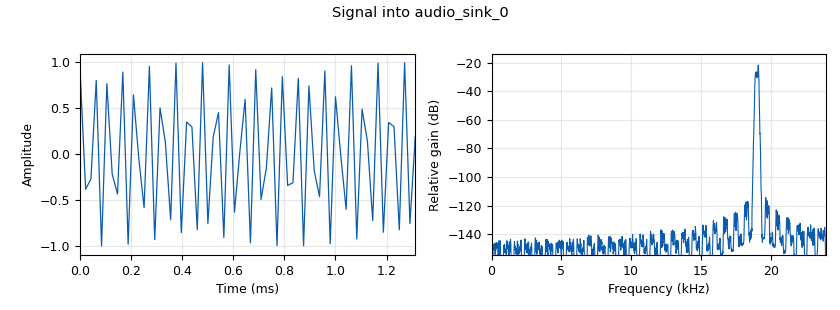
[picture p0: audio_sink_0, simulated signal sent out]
options:
  parameters:
    generate_options: qt_gui
    id: tx
    output_language: python
    title: Not titled yet
  states: {}

blocks:
- name: freq
  id: variable
  parameters:
    value: '19000'
  states: {}
- name: samp_rate
  id: variable
  parameters:
    value: '48000'
  states: {}
- name: audio_sink_0
  id: audio_sink
  parameters:
    samp_rate: samp_rate
  states: {}
- name: blocks_complex_to_real_0
  id: blocks_complex_to_real
  parameters: {}
  states: {}
- name: blocks_packed_to_unpacked_xx_1
  id: blocks_packed_to_unpacked_xx
  parameters:
    bits_per_chunk: '1'
    endianness: gr.GR_MSB_FIRST
    type: byte
  states: {}
- name: blocks_rotator_cc_0
  id: blocks_rotator_cc
  parameters:
    phase_inc: 2 * math.pi * freq / samp_rate
  states: {}
- name: blocks_vector_source_x_0
  id: blocks_vector_source_x
  parameters:
    repeat: 'True'
    type: byte
    vector: '[ord(c) for c in "Hello world! flag{foobar} "]'
  states: {}
- name: digital_gfsk_mod_0
  id: digital_gfsk_mod
  parameters:
    bt: '0.35'
    do_unpack: 'False'
    samples_per_symbol: '8'
    sensitivity: '1.0'
  states: {}
- name: import_0
  id: import
  parameters:
    imports: import math
  states: {}
- name: rational_resampler_xxx_0
  id: rational_resampler_xxx
  parameters:
    decim: '1'
    interp: '64'
    type: ccc
  states: {}

connections:
- [blocks_complex_to_real_0, '0', audio_sink_0, '0']
- [blocks_packed_to_unpacked_xx_1, '0', digital_gfsk_mod_0, '0']
- [blocks_rotator_cc_0, '0', blocks_complex_to_real_0, '0']
- [blocks_vector_source_x_0, '0', blocks_packed_to_unpacked_xx_1, '0']
- [digital_gfsk_mod_0, '0', rational_resampler_xxx_0, '0']
- [rational_resampler_xxx_0, '0', blocks_rotator_cc_0, '0']

metadata:
  file_format: 1
  grc_version: 3.10.4.0
